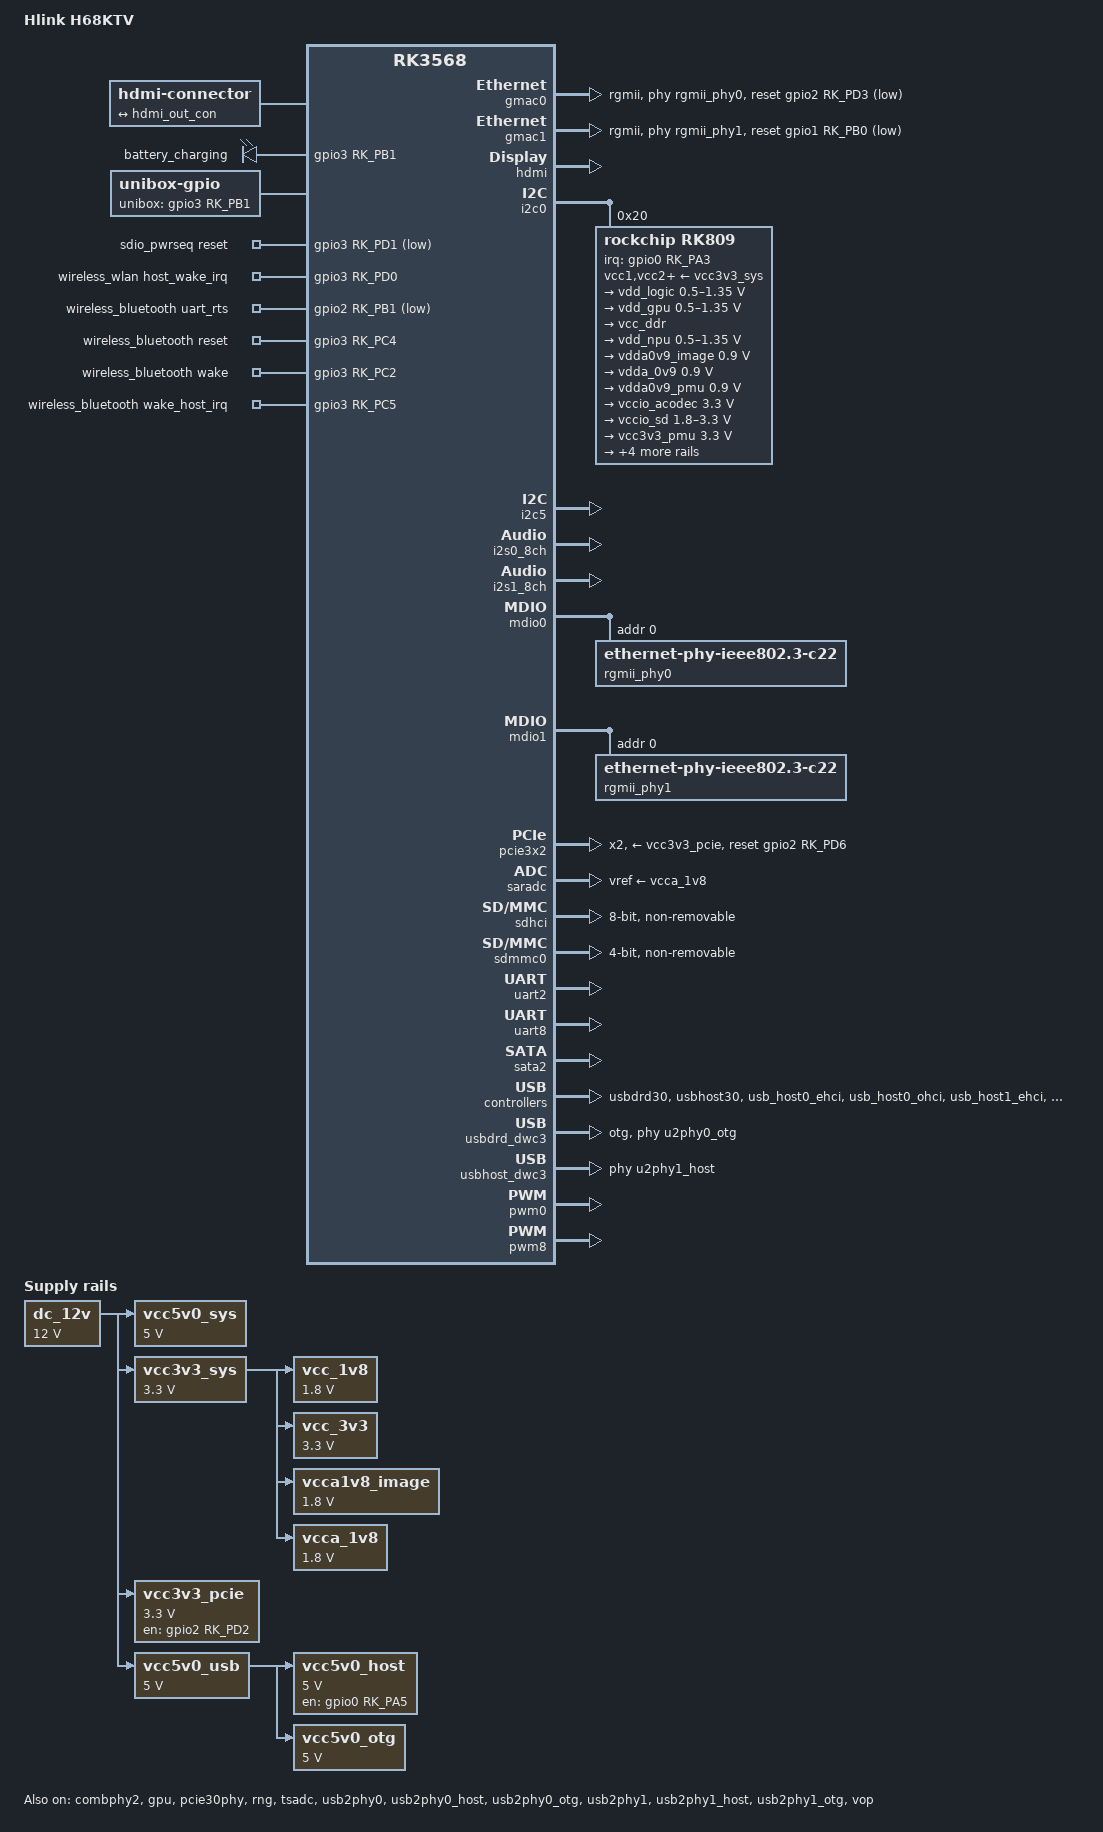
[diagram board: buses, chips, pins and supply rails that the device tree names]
// SPDX-License-Identifier: (GPL-2.0+ OR MIT)
// Copyright (c) 2022 AmadeusGhost <amadeus@jmu.edu.cn>

/dts-v1/;

#include <dt-bindings/gpio/gpio.h>
#include <dt-bindings/leds/common.h>
#include <dt-bindings/input/input.h>
#include <dt-bindings/pinctrl/rockchip.h>
#include <dt-bindings/soc/rockchip,vop2.h>
#include "rk3568.dtsi"

/ {
	model = "Hlink H68KTV";
	compatible = "hlink,h68ktv", "rockchip,rk3568";

	aliases {
		ethernet0 = &gmac0;
		ethernet1 = &gmac1;
		mmc0 = &sdmmc0;
		mmc1 = &sdhci;
		mmc2 = &sdmmc2;
	};

	chosen: chosen {
		stdout-path = "serial2:1500000n8";
	};

	hdmi-con {
		compatible = "hdmi-connector";
		type = "a";

		port {
			hdmi_con_in: endpoint {
				remote-endpoint = <&hdmi_out_con>;
			};
		};
	};

	leds: leds {
		compatible = "gpio-leds";

		battery_charging {
			gpios = <&gpio3 RK_PB1 GPIO_ACTIVE_HIGH>;
			label = "battery_charging";
			linux,default-trigger = "battery-charging";
			retain-state-suspended;
		};
	};

	rgb {
		compatible = "pwm-leds";

		label = "rgb";
		pwms = <&pwm8 0 1250 0>;
		max-brightness = <1250>;
	};

	unibox-gpio {
		status = "okay";
		compatible = "unibox-gpio";
		unibox-gpio = <&gpio3 RK_PB1 GPIO_ACTIVE_HIGH>;
	};

	rockemd_gpio {
		compatible = "rockemd,gpio";
	};

	test-power {
		status = "okay";
	};

	dc_12v: dc-12v-regulator {
		compatible = "regulator-fixed";
		regulator-name = "dc_12v";
		regulator-always-on;
		regulator-boot-on;
		regulator-min-microvolt = <12000000>;
		regulator-max-microvolt = <12000000>;
	};

	vcc5v0_sys: vcc5v0-sys-regulator {
		compatible = "regulator-fixed";
		regulator-name = "vcc5v0_sys";
		regulator-always-on;
		regulator-boot-on;
		regulator-min-microvolt = <5000000>;
		regulator-max-microvolt = <5000000>;
		vin-supply = <&dc_12v>;
	};

	vcc3v3_sys: vcc3v3-sys-regulator {
		compatible = "regulator-fixed";
		regulator-name = "vcc3v3_sys";
		regulator-always-on;
		regulator-boot-on;
		regulator-min-microvolt = <3300000>;
		regulator-max-microvolt = <3300000>;
		vin-supply = <&dc_12v>;
	};

	vcc_1v8: vcc-1v8-regulator {
		compatible = "regulator-fixed";
		regulator-name = "vcc_1v8";
		regulator-always-on;
		regulator-boot-on;
		regulator-min-microvolt = <1800000>;
		regulator-max-microvolt = <1800000>;
		vin-supply = <&vcc3v3_sys>;
	};

	vcc_3v3: vcc-3v3-regulator {
		compatible = "regulator-fixed";
		regulator-name = "vcc_3v3";
		regulator-always-on;
		regulator-boot-on;
		regulator-min-microvolt = <3300000>;
		regulator-max-microvolt = <3300000>;
		vin-supply = <&vcc3v3_sys>;
	};

	vcca1v8_image: vcca1v8-image-regulator {
		compatible = "regulator-fixed";
		regulator-name = "vcca1v8_image";
		regulator-min-microvolt = <1800000>;
		regulator-max-microvolt = <1800000>;
		vin-supply = <&vcc3v3_sys>;
	};

	vcca_1v8: vcca-1v8-regulator {
		compatible = "regulator-fixed";
		regulator-name = "vcca_1v8";
		regulator-always-on;
		regulator-boot-on;
		regulator-min-microvolt = <1800000>;
		regulator-max-microvolt = <1800000>;
		vin-supply = <&vcc3v3_sys>;
	};

	vcc3v3_pcie: vcc3v3-pcie-regulator {
		compatible = "regulator-fixed";
		regulator-name = "vcc3v3_pcie";
		regulator-min-microvolt = <3300000>;
		regulator-max-microvolt = <3300000>;
		enable-active-high;
		gpio = <&gpio2 RK_PD2 GPIO_ACTIVE_HIGH>;
		startup-delay-us = <5000>;
		vin-supply = <&dc_12v>;
	};

	vcc5v0_usb: vcc5v0-usb-regulator {
		compatible = "regulator-fixed";
		regulator-name = "vcc5v0_usb";
		regulator-always-on;
		regulator-boot-on;
		regulator-min-microvolt = <5000000>;
		regulator-max-microvolt = <5000000>;
		vin-supply = <&dc_12v>;
	};

	vcc5v0_host: vcc5v0-host-regulator {
		compatible = "regulator-fixed";
		regulator-name = "vcc5v0_host";
		regulator-boot-on;
		regulator-always-on;
		regulator-min-microvolt = <5000000>;
		regulator-max-microvolt = <5000000>;
		enable-active-high;
		gpio = <&gpio0 RK_PA5 GPIO_ACTIVE_HIGH>;
		vin-supply = <&vcc5v0_usb>;
	};

	vcc5v0_otg: vcc5v0-otg-regulator {
		compatible = "regulator-fixed";
		regulator-name = "vcc5v0_otg";
		regulator-min-microvolt = <5000000>;
		regulator-max-microvolt = <5000000>;
		enable-active-high;
		vin-supply = <&vcc5v0_usb>;
	};

	rk809-sound {
		compatible = "simple-audio-card";
		simple-audio-card,format = "i2s";
		simple-audio-card,name = "Analog RK809";
		simple-audio-card,mclk-fs = <256>;

		simple-audio-card,cpu {
			sound-dai = <&i2s1_8ch>;
		};
		simple-audio-card,codec {
			sound-dai = <&rk809>;
		};
	};

	sdio_pwrseq: sdio-pwrseq {
		compatible = "mmc-pwrseq-simple";
		clocks = <&rk809 1>;
		clock-names = "ext_clock";
		pinctrl-names = "default";
		pinctrl-0 = <&wifi_enable_h>;
		post-power-on-delay-ms = <200>;
		reset-gpios = <&gpio3 RK_PD1 GPIO_ACTIVE_LOW>;
	};

	wireless_wlan: wireless-wlan {
		compatible = "wlan-platdata";
		rockchip,grf = <&grf>;
		wifi_chip_type = "ap6275s";
		pinctrl-names = "default";
		pinctrl-0 = <&wifi_host_wake_irq>;
		WIFI,host_wake_irq = <&gpio3 RK_PD0 GPIO_ACTIVE_HIGH>;
		status = "okay";
	};

	wireless_bluetooth: wireless-bluetooth {
		compatible = "bluetooth-platdata";
		clocks = <&rk809 1>;
		clock-names = "ext_clock";
		uart_rts_gpios = <&gpio2 RK_PB1 GPIO_ACTIVE_LOW>;
		pinctrl-names = "default", "rts_gpio";
		pinctrl-0 = <&uart8m0_rtsn>;
		pinctrl-1 = <&uart8_gpios>;
		BT,reset_gpio = <&gpio3 RK_PC4 GPIO_ACTIVE_HIGH>;
		BT,wake_gpio = <&gpio3 RK_PC2 GPIO_ACTIVE_HIGH>;
		BT,wake_host_irq = <&gpio3 RK_PC5 GPIO_ACTIVE_HIGH>;
		status = "okay";
	};
};

/* for sata2 & pcie2x1 */
&combphy2 {
	status = "okay";
};

&cpu0 {
	cpu-supply = <&vdd_cpu>;
};

&cpu1 {
	cpu-supply = <&vdd_cpu>;
};

&cpu2 {
	cpu-supply = <&vdd_cpu>;
};

&cpu3 {
	cpu-supply = <&vdd_cpu>;
};

&gmac0 {
	assigned-clocks = <&cru SCLK_GMAC0_RX_TX>, <&cru SCLK_GMAC0>;
	assigned-clock-parents = <&cru SCLK_GMAC0_RGMII_SPEED>;
	assigned-clock-rates = <0>, <125000000>;
	clock_in_out = "output";
	phy-mode = "rgmii";
	pinctrl-names = "default";
	pinctrl-0 = <&gmac0_miim
		     &gmac0_tx_bus2
		     &gmac0_rx_bus2
		     &gmac0_rgmii_clk
		     &gmac0_rgmii_bus>;
	snps,reset-gpio = <&gpio2 RK_PD3 GPIO_ACTIVE_LOW>;
	snps,reset-active-low;
	snps,reset-delays-us = <0 20000 100000>;
	tx_delay = <0x4f>;
	rx_delay = <0x26>;
	phy-handle = <&rgmii_phy0>;
	status = "okay";
};

&gmac1 {
	assigned-clocks = <&cru SCLK_GMAC1_RX_TX>, <&cru SCLK_GMAC1>;
	assigned-clock-parents = <&cru SCLK_GMAC1_RGMII_SPEED>;
	assigned-clock-rates = <0>, <125000000>;
	clock_in_out = "output";
	phy-mode = "rgmii";
	pinctrl-names = "default";
	pinctrl-0 = <&gmac1m1_miim
		     &gmac1m1_tx_bus2
		     &gmac1m1_rx_bus2
		     &gmac1m1_rgmii_clk
		     &gmac1m1_rgmii_bus>;
	snps,reset-gpio = <&gpio1 RK_PB0 GPIO_ACTIVE_LOW>;
	snps,reset-active-low;
	snps,reset-delays-us = <0 20000 100000>;
	tx_delay = <0x3c>;
	rx_delay = <0x2f>;
	phy-handle = <&rgmii_phy1>;
	status = "okay";
};

&gpu {
	mali-supply = <&vdd_gpu>;
	status = "okay";
};

&hdmi {
	avdd-0v9-supply = <&vdda0v9_image>;
	avdd-1v8-supply = <&vcca1v8_image>;
	status = "okay";
};

&hdmi_in {
	hdmi_in_vp0: endpoint {
		remote-endpoint = <&vp0_out_hdmi>;
	};
};

&hdmi_out {
	hdmi_out_con: endpoint {
		remote-endpoint = <&hdmi_con_in>;
	};
};

&i2c0 {
	status = "okay";

	rk809: pmic@20 {
		compatible = "rockchip,rk809";
		reg = <0x20>;
		interrupt-parent = <&gpio0>;
		interrupts = <RK_PA3 IRQ_TYPE_LEVEL_LOW>;
		#clock-cells = <1>;
		clock-names = "mclk";
		clocks = <&cru I2S1_MCLKOUT_TX>;
		pinctrl-names = "default";
		pinctrl-0 = <&pmic_int>, <&i2s1m0_mclk>;
		rockchip,system-power-controller;
		wakeup-source;
		vcc1-supply = <&vcc3v3_sys>;
		vcc2-supply = <&vcc3v3_sys>;
		vcc3-supply = <&vcc3v3_sys>;
		vcc4-supply = <&vcc3v3_sys>;
		vcc5-supply = <&vcc3v3_sys>;
		vcc6-supply = <&vcc3v3_sys>;
		vcc7-supply = <&vcc3v3_sys>;
		vcc8-supply = <&vcc3v3_sys>;
		vcc9-supply = <&vcc3v3_sys>;

		regulators {
			vdd_logic: DCDC_REG1 {
				regulator-name = "vdd_logic";
				regulator-always-on;
				regulator-boot-on;
				regulator-min-microvolt = <500000>;
				regulator-max-microvolt = <1350000>;
				regulator-ramp-delay = <6001>;
				regulator-initial-mode = <0x2>;

				regulator-state-mem {
					regulator-off-in-suspend;
				};
			};

			vdd_gpu: DCDC_REG2 {
				regulator-name = "vdd_gpu";
				regulator-always-on;
				regulator-min-microvolt = <500000>;
				regulator-max-microvolt = <1350000>;
				regulator-ramp-delay = <6001>;
				regulator-initial-mode = <0x2>;

				regulator-state-mem {
					regulator-off-in-suspend;
				};
			};

			vcc_ddr: DCDC_REG3 {
				regulator-name = "vcc_ddr";
				regulator-always-on;
				regulator-boot-on;
				regulator-initial-mode = <0x2>;

				regulator-state-mem {
					regulator-on-in-suspend;
				};
			};

			vdd_npu: DCDC_REG4 {
				regulator-name = "vdd_npu";
				regulator-min-microvolt = <500000>;
				regulator-max-microvolt = <1350000>;
				regulator-ramp-delay = <6001>;
				regulator-initial-mode = <0x2>;

				regulator-state-mem {
					regulator-off-in-suspend;
				};
			};

			vdda0v9_image: LDO_REG1 {
				regulator-name = "vdda0v9_image";
				regulator-min-microvolt = <900000>;
				regulator-max-microvolt = <900000>;

				regulator-state-mem {
					regulator-off-in-suspend;
				};
			};

			vdda_0v9: LDO_REG2 {
				regulator-name = "vdda_0v9";
				regulator-always-on;
				regulator-boot-on;
				regulator-min-microvolt = <900000>;
				regulator-max-microvolt = <900000>;

				regulator-state-mem {
					regulator-off-in-suspend;
				};
			};

			vdda0v9_pmu: LDO_REG3 {
				regulator-name = "vdda0v9_pmu";
				regulator-always-on;
				regulator-boot-on;
				regulator-min-microvolt = <900000>;
				regulator-max-microvolt = <900000>;

				regulator-state-mem {
					regulator-on-in-suspend;
					regulator-suspend-microvolt = <900000>;
				};
			};

			vccio_acodec: LDO_REG4 {
				regulator-name = "vccio_acodec";
				regulator-always-on;
				regulator-min-microvolt = <3300000>;
				regulator-max-microvolt = <3300000>;

				regulator-state-mem {
					regulator-off-in-suspend;
				};
			};

			vccio_sd: LDO_REG5 {
				regulator-name = "vccio_sd";
				regulator-min-microvolt = <1800000>;
				regulator-max-microvolt = <3300000>;

				regulator-state-mem {
					regulator-off-in-suspend;
				};
			};

			vcc3v3_pmu: LDO_REG6 {
				regulator-name = "vcc3v3_pmu";
				regulator-always-on;
				regulator-boot-on;
				regulator-min-microvolt = <3300000>;
				regulator-max-microvolt = <3300000>;

				regulator-state-mem {
					regulator-on-in-suspend;
					regulator-suspend-microvolt = <3300000>;
				};
			};

			vcca1v8_image: LDO_REG9 {
				regulator-name = "vcca1v8_image";
				regulator-min-microvolt = <1800000>;
				regulator-max-microvolt = <1800000>;

				regulator-state-mem {
					regulator-off-in-suspend;
				};
			};

			vcc_1v8: DCDC_REG5 {
				regulator-name = "vcc_1v8";
				regulator-always-on;
				regulator-boot-on;
				regulator-min-microvolt = <1800000>;
				regulator-max-microvolt = <1800000>;

				regulator-state-mem {
					regulator-off-in-suspend;
				};
			};

			vcc_3v3: SWITCH_REG1 {
				regulator-name = "vcc_3v3";
				regulator-always-on;
				regulator-boot-on;

				regulator-state-mem {
					regulator-off-in-suspend;
				};
			};

			vcc3v3_sd: SWITCH_REG2 {
				regulator-name = "vcc3v3_sd";

				regulator-state-mem {
					regulator-off-in-suspend;
				};
			};
		};

		rk809_codec: codec {
			#sound-dai-cells = <0>;
			compatible = "rockchip,rk809-codec", "rockchip,rk817-codec";
			clocks = <&cru I2S1_MCLKOUT_TX>;
			clock-names = "mclk";
			assigned-clocks = <&cru I2S1_MCLKOUT_TX>;
			assigned-clock-parents = <&cru CLK_I2S1_8CH_TX>;
			pinctrl-names = "default";
			pinctrl-0 = <&i2s1m0_mclk>;
			hp-volume = <20>;
			spk-volume = <3>;
			mic-in-differential;
			status = "okay";
		};
	};
};

&i2c5 {
	status = "okay";
};

&i2s0_8ch {
	status = "okay";
};

&i2s1_8ch {
	rockchip,trcm-sync-tx-only;
	status = "okay";
};

&mdio0 {
	rgmii_phy0: ethernet-phy@0 {
		compatible = "ethernet-phy-ieee802.3-c22";
		reg = <0x0>;
		status = "okay";
	};
};

&mdio1 {
	rgmii_phy1: ethernet-phy@0 {
		compatible = "ethernet-phy-ieee802.3-c22";
		reg = <0x0>;
		status = "okay";
	};
};

&pcie30phy {
	status = "okay";
};

&pcie3x2 {
	num-lanes = <2>;
	reset-gpios = <&gpio2 RK_PD6 GPIO_ACTIVE_HIGH>;
	vpcie3v3-supply = <&vcc3v3_pcie>;
	status = "okay";
};

&pinctrl {
	pmic {
		pmic_int: pmic-int {
			rockchip,pins = <0 RK_PA3 RK_FUNC_GPIO &pcfg_pull_up>;
		};
	};

	sdio-pwrseq {
		wifi_enable_h: wifi-enable-h {
			rockchip,pins = <3 RK_PD1 RK_FUNC_GPIO &pcfg_pull_none>;
		};
	};

	usb {
		vcc5v0_host_en: vcc5v0-host-en {
			rockchip,pins = <0 RK_PA5 RK_FUNC_GPIO &pcfg_pull_none>;
		};
	};

	wireless-wlan {
		wifi_host_wake_irq: wifi-host-wake-irq {
			rockchip,pins = <3 RK_PD0 RK_FUNC_GPIO &pcfg_pull_down>;
		};
	};

	wireless-bluetooth {
		uart8_gpios: uart8-gpios {
			rockchip,pins = <2 RK_PB1 RK_FUNC_GPIO &pcfg_pull_none>;
		};
	};
};

&pmu_io_domains {
	pmuio1-supply = <&vcc3v3_pmu>;
	pmuio2-supply = <&vcc3v3_pmu>;
	vccio1-supply = <&vccio_acodec>;
	vccio2-supply = <&vcc_1v8>;
	vccio3-supply = <&vccio_sd>;
	vccio4-supply = <&vcc_1v8>;
	vccio5-supply = <&vcc_3v3>;
	vccio6-supply = <&vcc_1v8>;
	vccio7-supply = <&vcc_3v3>;
	status = "okay";
};

&rng {
	status = "okay";
};

&saradc {
	vref-supply = <&vcca_1v8>;
	status = "okay";
};

&sdhci {
	bus-width = <8>;
	max-frequency = <200000000>;
	non-removable;
	pinctrl-names = "default";
	pinctrl-0 = <&emmc_bus8 &emmc_clk &emmc_cmd &emmc_datastrobe>;
	status = "okay";
};

&sdmmc0 {
	max-frequency = <150000000>;
	supports-sdio;
	bus-width = <4>;
	disable-wp;
	cap-sd-highspeed;
	cap-sdio-irq;
	keep-power-in-suspend;
	mmc-pwrseq = <&sdio_pwrseq>;
	non-removable;
	pinctrl-names = "default";
	pinctrl-0 = <&sdmmc0_bus4 &sdmmc0_clk &sdmmc0_cmd>;
	sd-uhs-sdr104;
	status = "okay";
};

&sdmmc2 {
	status = "disabled";
};

&tsadc {
	rockchip,hw-tshut-mode = <1>;
	rockchip,hw-tshut-polarity = <0>;
	status = "okay";
};

&uart2 {
	status = "okay";
};

&uart8 {
	pinctrl-names = "default";
	pinctrl-0 = <&uart8m0_xfer &uart8m0_ctsn>;
	status = "okay";
};

&sata2 {
	status = "okay";
};

&usbdrd30 {
	status = "okay";
};

&usbdrd_dwc3 {
	dr_mode = "otg";
	phys = <&u2phy0_otg>;
	phy-names = "usb2-phy";
	status = "okay";
};

&usbhost30 {
	status = "okay";
};

&usbhost_dwc3 {
	phys = <&u2phy1_host>;
	phy-names = "usb2-phy";
	status = "okay";
};

&usb_host0_ehci {
	status = "okay";
};

&usb_host0_ohci {
	status = "okay";
};

&usb_host1_ehci {
	status = "okay";
};

&usb_host1_ohci {
	status = "okay";
};

&usb2phy0 {
	status = "okay";
};

&usb2phy0_host {
	phy-supply = <&vcc5v0_host>;
	status = "okay";
};

&usb2phy0_otg {
	phy-supply = <&vcc5v0_otg>;
	status = "okay";
};

&usb2phy1 {
	status = "okay";
};

&usb2phy1_host {
	phy-supply = <&vcc5v0_host>;
	status = "okay";
};

&usb2phy1_otg {
	phy-supply = <&vcc5v0_host>;
	status = "okay";
};

&vop {
	assigned-clocks = <&cru DCLK_VOP0>, <&cru DCLK_VOP1>;
	assigned-clock-parents = <&pmucru PLL_HPLL>, <&cru PLL_VPLL>;
	status = "okay";
};

&vop_mmu {
	status = "okay";
};

&vp0 {
	vp0_out_hdmi: endpoint@ROCKCHIP_VOP2_EP_HDMI0 {
		reg = <ROCKCHIP_VOP2_EP_HDMI0>;
		remote-endpoint = <&hdmi_in_vp0>;
	};
};

&pwm0 {
	status = "okay";
};

&pwm8 {
	status = "okay";
};
